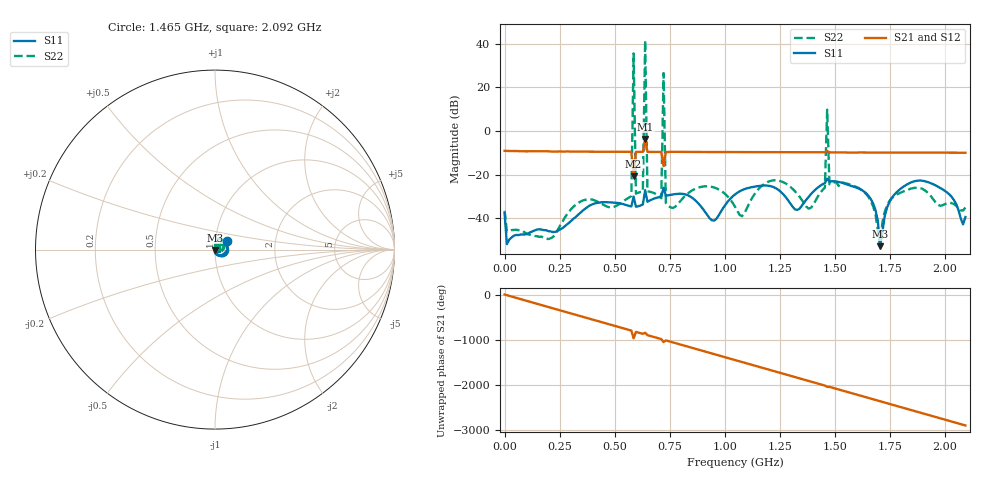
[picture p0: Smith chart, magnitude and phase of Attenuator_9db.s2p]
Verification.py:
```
import matplotlib.pyplot as plt
import skrf as rf
from skrf import Network
import numpy as np
import math, cmath


plt.rcParams["font.family"] = "Century Gothic"
plt.rcParams["font.size"] = "14"


#------------------------------------------------------------------
S_75       = Network("C:/Users/SH/Desktop/Test_1/75Ohm/75_Ohm_line.s2p")
S_75_calc  = Network("C:/Users/SH/Desktop/Test_1/75Ohm_calc.s2p")
Attenuator_6db =Network("C:/Users/SH/Desktop/Test_1/Attenuator_6db/Attenuator.s2p")
Attenuator_6db_calc =Network("C:/Users/SH/Desktop/Test_1/Attenuator_6db_calc.s2p")
Attenuator_9db =Network("C:/Users/SH/Desktop/Test_1/Attenuator_9db/Attenuator_9db.s2p")
Attenuator_9db_calc =Network("C:/Users/SH/Desktop/Test_1/Attenuator_9db_calc.s2p")
#------------------------------------------------------------------

S11_75_db = 20*np.log10(S_75.s[:, 1-1, 1-1])
S11_75_calc_db = 20*np.log10(S_75_calc.s[:, 1-1, 1-1])
S21_75_db = 20*np.log10(S_75.s[:, 2-1, 1-1])
S21_75_calc_db = 20*np.log10(S_75_calc.s[:, 2-1, 1-1])

S11_AT_6db = 20*np.log10(Attenuator_6db.s[:, 1-1, 1-1])
S11_AT_6db_calc = 20*np.log10(Attenuator_6db_calc.s[:, 1-1, 1-1])
S21_AT_6db = 20*np.log10(Attenuator_6db.s[:, 2-1, 1-1])
S21_AT_6db_calc = 20*np.log10(Attenuator_6db_calc.s[:, 2-1, 1-1])

S11_AT_9db = 20*np.log10(Attenuator_9db.s[:, 1-1, 1-1])
S11_AT_9db_calc = 20*np.log10(Attenuator_9db_calc.s[:, 1-1, 1-1])
S21_AT_9db = 20*np.log10(Attenuator_9db.s[:, 2-1, 1-1])
S21_AT_9db_calc = 20*np.log10(Attenuator_9db_calc.s[:, 2-1, 1-1])

F = S_75.f[:]
#------------------------------------------------------------------
#Plot 75
plt.figure()
plt.title("75 Ohm")
plt.plot(F, S11_75_db, label='Measure', linewidth ='3')
plt.plot(F, S11_75_calc_db, label='Calc', linewidth ='3')
plt.legend()
plt.xlabel('F, Гц')
plt.ylabel('S11, дБ')
plt.grid()

plt.figure()
plt.title("75 Ohm")
plt.plot(F, S21_75_db, label='Measure', linewidth ='3')
plt.plot(F, S21_75_calc_db, label='Calc', linewidth ='3')
plt.legend()
plt.xlabel('F, Гц')
plt.ylabel('S21, дБ')
plt.grid()
#------------------------------------------------------------------
#Plot Attenuator 6 dB
plt.figure()
plt.title("Attenuator 6 dB")
plt.plot(F, S11_AT_6db, label='Measure', linewidth ='3')
plt.plot(F, S11_AT_6db_calc, label='Calc', linewidth ='3')
plt.legend()
plt.xlabel('F, Гц')
plt.ylabel('S11, дБ')
plt.grid()

plt.figure()
plt.title("Attenuator 6 dB")
plt.plot(F, S21_AT_6db, label='Measure', linewidth ='3')
plt.plot(F, S21_AT_6db_calc, label='Calc', linewidth ='3')
plt.legend()
plt.xlabel('F, Гц')
plt.ylabel('S21, дБ')
plt.grid()
#------------------------------------------------------------------
#Plot Attenuator 9 dB
plt.figure()
plt.title("Attenuator 9 dB")
plt.plot(F, S11_AT_9db, label='Measure', linewidth ='3')
plt.plot(F, S11_AT_9db_calc, label='Calc', linewidth ='3')
plt.legend()
plt.xlabel('F, Гц')
plt.ylabel('S11, дБ')
plt.grid()

plt.figure()
plt.title("Attenuator 9 dB")
plt.plot(F, S21_AT_9db, label='Measure', linewidth ='3')
plt.plot(F, S21_AT_9db_calc, label='Calc', linewidth ='3')
plt.legend()
plt.xlabel('F, Гц')
plt.ylabel('S21, дБ')
plt.grid()

#------------------------------------------------------------------
#------------------------------------------------------------------
plt.show()
#------------------------------------------------------------------
#------------------------------------------------------------------
```
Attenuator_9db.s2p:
!Agilent Technologies,E8357A,US42070586,A.04.87.01
!Agilent E8357A: A.04.87.01
!Date: Thursday, April 15, 2021 17:28:09
!Correction: S11(Full 2 Port SOLT,1,2) S21(Full 2 Port SOLT,1,2) S12(Full 2 Port SOLT,1,2) S22(Full 2 Port SOLT,1,2)
!S2P File: Measurements: S11, S21, S12, S22:
# Hz S  RI  R 50
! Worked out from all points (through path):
!   201 points, 300 kHz to 2.092 GHz, reference 50 ohm
!   highest |S21| = -3.67 dB at 638.3 MHz (marker M1); lowest = -20.8 dB at 586.1 MHz (marker M2)
!   lowest |S11| = -52.8 dB at 1.705 GHz (marker M3), VSWR 1.00, Z = 49.8 - j0.157 ohm
!   |S11| at or under -10 dB: start of sweep to end of sweep
!   |S22| runs from -52.5 to 41.4 dB; largest |S21 - S12| = 6.2
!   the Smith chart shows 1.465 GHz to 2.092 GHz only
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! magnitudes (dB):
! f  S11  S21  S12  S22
! 300 kHz  -37.7  -9.1  -9.1  -36.6
! 575.6 MHz  -34.6  -9.5  -9.5  -29.8
! 586.1 MHz  -30.0  -20.8  5.4  35.5
! 627.9 MHz  -33.6  -9.6  -9.5  -27.7
! 638.3 MHz  -27.1  -3.7  15.8  41.4
! 648.8 MHz  -32.4  -9.6  -9.5  -27.7
! 722 MHz  -26.0  -16.1  11.7  26.5
! 1.046 GHz  -29.1  -9.7  -9.6  -34.7
! 1.465 GHz  -21.9  -9.1  -1.7  9.7
! 1.705 GHz  -52.8  -9.9  -9.9  -52.5
! 2.092 GHz  -39.4  -10.0  -10.0  -35.1
